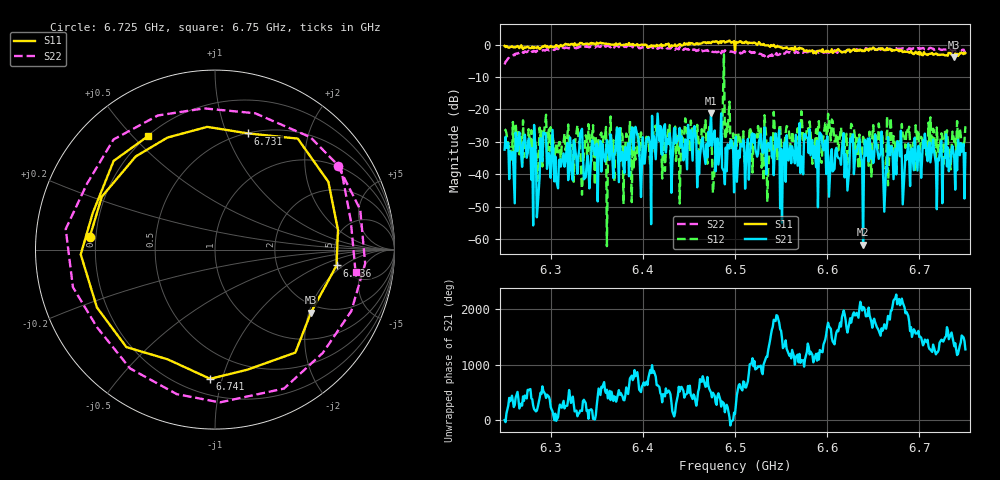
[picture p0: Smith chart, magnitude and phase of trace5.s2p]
# Hz S RI R 50
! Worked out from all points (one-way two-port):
!   401 points, 6.25 GHz to 6.75 GHz, reference 50 ohm
!   highest |S21| = -21.23 dB at 6.474 GHz (marker M1); lowest = -61.7 dB at 6.639 GHz (marker M2)
!   lowest |S11| = -3.9 dB at 6.738 GHz (marker M3), VSWR 4.54, Z = 86.9 - j103 ohm
!   |S11| at or under -10 dB: nowhere
!   |S22| runs from -6.1 to 0.0 dB; largest |S21 - S12| = 0.7
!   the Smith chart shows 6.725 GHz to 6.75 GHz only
!   S11 on the Smith chart (normalised r, x): 6.725 GHz: 0.18, +0.05; 6.731 GHz: 0.50, +1.19; 6.736 GHz: 4.76, -1.58; 6.741 GHz: 0.31, -0.92; 6.75 GHz: 0.20, +0.56
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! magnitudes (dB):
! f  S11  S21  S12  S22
! 6.25 GHz  -0.4  -32.4  -26.1  -6.1
! 6.274 GHz  -0.8  -34.9  -31.1  -2.4
! 6.284 GHz  -1.0  -34.8  -31.5  -2.3
! 6.291 GHz  -0.6  -36.1  -37.6  -1.9
! 6.306 GHz  -0.2  -41.9  -30.5  -1.1
! 6.334 GHz  0.4  -26.0  -46.3  -0.6
! 6.39 GHz  -0.1  -32.5  -38.5  0.0
! 6.4 GHz  0.0  -28.6  -32.8  -0.8
! 6.418 GHz  -0.3  -29.8  -26.0  -1.0
! 6.46 GHz  0.1  -32.8  -28.6  -1.9
! 6.474 GHz  0.4  -21.2  -29.0  -1.9
! 6.49 GHz  0.7  -31.8  -29.2  -2.2
! 6.5 GHz  -1.8  -32.5  -36.1  -2.7
! 6.584 GHz  -1.8  -29.5  -36.8  -2.3
! 6.639 GHz  -1.8  -61.7  -28.5  -1.8
! 6.668 GHz  -1.3  -34.2  -29.7  -1.3
! 6.725 GHz  -3.1  -49.0  -28.9  -1.6
! 6.731 GHz  -3.4  -31.8  -29.7  -1.3
! 6.736 GHz  -3.3  -31.3  -26.9  -2.1
! 6.738 GHz  -3.9  -35.2  -30.1  -1.7
! 6.741 GHz  -2.8  -38.8  -23.6  -1.6
! 6.75 GHz  -2.7  -33.5  -25.2  -2.0
